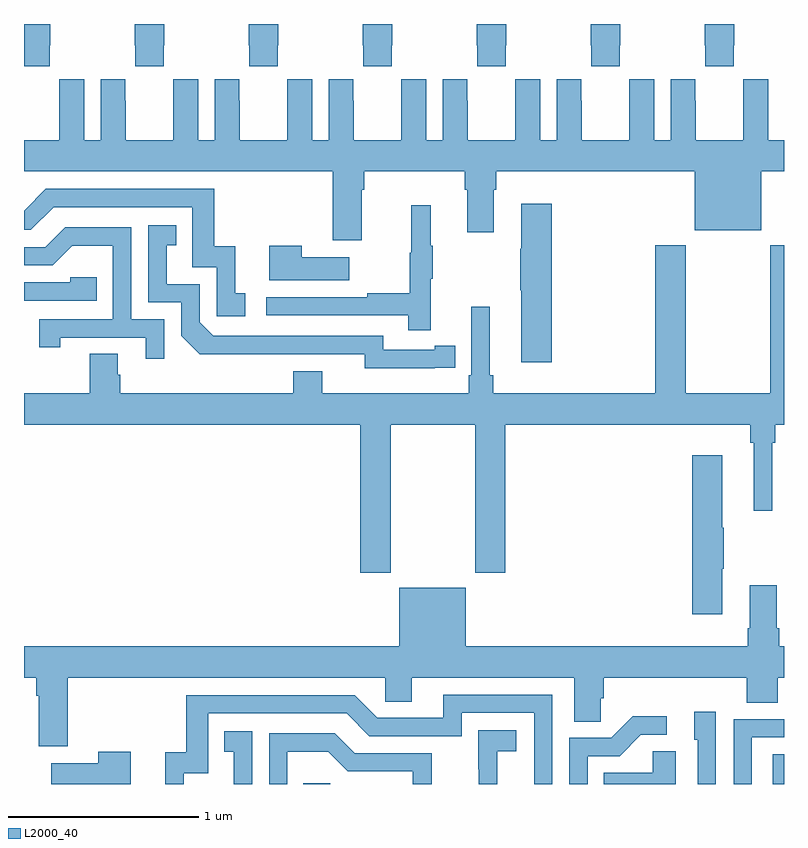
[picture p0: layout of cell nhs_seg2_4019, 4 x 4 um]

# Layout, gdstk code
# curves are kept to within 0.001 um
import gdstk
lib = gdstk.Library(unit=1e-6, precision=1e-09)
def R(c, l, rs):  # rectangles x0, y0, x1, y1
    for r in rs: c.add(gdstk.rectangle(r[:2], r[2:], *l))
def P(c, l, *ps):  # polygons
    for p in ps: c.add(gdstk.Polygon(p, *l))
L2000_40 = (2000, 40)

nhs_seg2_4019 = lib.new_cell('nhs_seg2_4019')
R(nhs_seg2_4019, L2000_40, [(328.471,589.8,328.611,589.803), (330.941,589.8,331,589.957)])
P(nhs_seg2_4019, L2000_40, [(327.735,593.689),(327.738,593.689),(327.738,593.8),(327.583,593.8),(327.583,593.689),(327.585,593.689),(327.585,593.577),(327.735,593.577)],
  [(328.335,593.689),(328.338,593.689),(328.338,593.8),(328.183,593.8),(328.183,593.689),(328.185,593.689),(328.185,593.577),(328.335,593.577)],
  [(328.935,593.689),(328.938,593.689),(328.938,593.8),(328.783,593.8),(328.783,593.689),(328.785,593.689),(328.785,593.577),(328.935,593.577)],
  [(329.535,593.689),(329.538,593.689),(329.538,593.8),(329.383,593.8),(329.383,593.689),(329.385,593.689),(329.385,593.577),(329.535,593.577)],
  [(330.135,593.689),(330.138,593.689),(330.138,593.8),(329.983,593.8),(329.983,593.689),(329.985,593.689),(329.985,593.577),(330.135,593.577)],
  [(330.735,593.689),(330.738,593.689),(330.738,593.8),(330.583,593.8),(330.583,593.689),(330.585,593.689),(330.585,593.577),(330.735,593.577)],
  [(327.135,593.689),(327.138,593.689),(327.138,593.8),(327,593.8),(327,593.577),(327.135,593.577)],
  [(328.777,592.928),(328.79,592.928),(328.79,593.024),(329.321,593.024),(329.321,592.928),(329.333,592.928),(329.333,592.704),(329.473,592.704),(329.473,592.928),(329.486,592.928),(329.486,593.024),(330.53,593.024),(330.53,592.715),(330.88,592.715),(330.88,593.024),(331,593.024),(331,593.188),(330.916,593.188),(330.916,593.509),(330.786,593.509),(330.786,593.396),(330.785,593.396),(330.785,593.188),(330.535,593.188),(330.535,593.396),(330.534,593.396),(330.534,593.509),(330.404,593.509),(330.404,593.188),(330.316,593.188),(330.316,593.509),(330.186,593.509),(330.186,593.396),(330.185,593.396),(330.185,593.188),(329.935,593.188),(329.935,593.396),(329.934,593.396),(329.934,593.509),(329.804,593.509),(329.804,593.188),(329.716,593.188),(329.716,593.509),(329.586,593.509),(329.586,593.396),(329.585,593.396),(329.585,593.188),(329.335,593.188),(329.335,593.396),(329.334,593.396),(329.334,593.509),(329.204,593.509),(329.204,593.188),(329.116,593.188),(329.116,593.509),(328.986,593.509),(328.986,593.396),(328.985,593.396),(328.985,593.188),(328.735,593.188),(328.735,593.396),(328.734,593.396),(328.734,593.509),(328.604,593.509),(328.604,593.188),(328.516,593.188),(328.516,593.509),(328.386,593.509),(328.386,593.396),(328.385,593.396),(328.385,593.188),(328.135,593.188),(328.135,593.396),(328.134,593.396),(328.134,593.509),(328.004,593.509),(328.004,593.188),(327.916,593.188),(327.916,593.509),(327.786,593.509),(327.786,593.396),(327.785,593.396),(327.785,593.188),(327.535,593.188),(327.535,593.396),(327.534,593.396),(327.534,593.509),(327.404,593.509),(327.404,593.188),(327.316,593.188),(327.316,593.509),(327.186,593.509),(327.186,593.396),(327.185,593.396),(327.185,593.188),(327,593.188),(327,593.024),(328.625,593.024),(328.625,592.662),(328.777,592.662)],
  [(328.165,592.383),(328.112,592.383),(328.112,592.63),(328.001,592.63),(328.001,592.932),(327.114,592.932),(327,592.818),(327,592.716),(327.036,592.716),(327.156,592.836),(327.885,592.836),(327.885,592.521),(328.014,592.521),(328.014,592.263),(328.165,592.263)],
  [(329.777,592.855),(329.618,592.855),(329.618,592.616),(329.611,592.616),(329.611,592.399),(329.618,592.399),(329.618,592.02),(329.777,592.02)],
  [(329.141,592.459),(329.152,592.459),(329.152,592.633),(329.141,592.633),(329.141,592.846),(329.038,592.846),(329.038,592.596),(329.031,592.596),(329.031,592.382),(328.807,592.382),(328.807,592.362),(328.275,592.362),(328.275,592.266),(329.023,592.266),(329.023,592.188),(329.141,592.188)],
  [(329.162,591.99),(329.27,591.99),(329.27,592.106),(329.162,592.106),(329.162,592.086),(328.89,592.086),(328.89,592.158),(327.996,592.158),(327.924,592.23),(327.924,592.431),(327.751,592.431),(327.751,592.635),(327.8,592.635),(327.8,592.741),(327.654,592.741),(327.654,592.335),(327.828,592.335),(327.828,592.158),(327.926,592.061),(328.794,592.062),(328.794,591.989)],
  [(327.738,592.245),(327.564,592.245),(327.564,592.731),(327.218,592.731),(327.113,592.626),(327,592.626),(327,592.53),(327.15,592.53),(327.254,592.634),(327.468,592.634),(327.468,592.245),(327.079,592.245),(327.079,592.098),(327.19,592.098),(327.19,592.149),(327.641,592.149),(327.641,592.038),(327.738,592.038)],
  [(328.929,591.692),(329.374,591.692),(329.374,590.913),(329.534,590.913),(329.534,591.692),(330.823,591.692),(330.823,591.596),(330.842,591.596),(330.842,591.237),(330.939,591.237),(330.939,591.596),(330.953,591.596),(330.953,591.692),(331,591.692),(331,592.636),(330.928,592.636),(330.928,591.856),(330.483,591.856),(330.483,592.636),(330.323,592.636),(330.323,591.856),(329.471,591.856),(329.471,591.952),(329.452,591.952),(329.452,592.312),(329.355,592.312),(329.355,591.952),(329.342,591.952),(329.342,591.856),(328.57,591.856),(328.57,591.973),(328.418,591.973),(328.418,591.856),(327.506,591.856),(327.506,591.954),(327.493,591.954),(327.493,592.064),(327.346,592.064),(327.346,591.856),(327,591.856),(327,591.692),(328.769,591.692),(328.769,590.913),(328.929,590.913)],
  [(328.711,592.573),(328.463,592.573),(328.463,592.633),(328.292,592.633),(328.292,592.451),(328.711,592.451)],
  [(327.383,592.467),(327.243,592.467),(327.243,592.44),(327,592.44),(327,592.344),(327.383,592.344)],
  [(330.676,590.932),(330.684,590.932),(330.684,591.149),(330.676,591.149),(330.676,591.529),(330.518,591.529),(330.518,590.694),(330.676,590.694)],
  [(327,590.36),(327.065,590.36),(327.065,590.264),(327.077,590.264),(327.077,589.998),(327.23,589.998),(327.23,590.36),(328.902,590.36),(328.902,590.233),(329.041,590.233),(329.041,590.36),(329.897,590.36),(329.897,590.128),(330.036,590.128),(330.036,590.251),(330.05,590.251),(330.05,590.36),(330.803,590.36),(330.803,590.227),(330.968,590.227),(330.968,590.36),(331,590.36),(331,590.524),(330.974,590.524),(330.974,590.62),(330.961,590.62),(330.961,590.845),(330.821,590.845),(330.821,590.62),(330.809,590.62),(330.809,590.524),(329.326,590.524),(329.326,590.833),(328.976,590.833),(328.976,590.524),(327,590.524)],
  [(327.84,589.857),(327.969,589.857),(327.969,590.172),(328.698,590.172),(328.818,590.052),(329.304,590.052),(329.304,590.175),(329.685,590.175),(329.685,589.8),(329.781,589.8),(329.781,590.271),(329.207,590.271),(329.207,590.148),(328.86,590.148),(328.74,590.268),(327.853,590.268),(327.853,589.966),(327.743,589.966),(327.743,589.8),(327.84,589.8)],
  [(330.642,590.179),(330.527,590.179),(330.527,590.034),(330.546,590.034),(330.546,589.8),(330.642,589.8)],
  [(329.967,589.947),(330.136,589.947),(330.247,590.058),(330.382,590.058),(330.382,590.156),(330.203,590.156),(330.09,590.043),(329.871,590.043),(329.871,589.8),(329.967,589.8)],
  [(330.831,590.046),(331,590.046),(331,590.142),(330.735,590.142),(330.735,589.8),(330.831,589.8)],
  [(329.492,589.973),(329.59,589.973),(329.59,590.083),(329.392,590.083),(329.392,589.877),(329.393,589.877),(329.393,589.8),(329.492,589.8)],
  [(328.2,590.077),(328.054,590.077),(328.054,589.971),(328.103,589.971),(328.103,589.8),(328.2,589.8)],
  [(328.386,589.97),(328.6,589.97),(328.704,589.866),(329.046,589.866),(329.046,589.8),(329.145,589.8),(329.145,589.962),(328.741,589.962),(328.636,590.067),(328.29,590.067),(328.29,589.8),(328.386,589.8)],
  [(330.43,589.973),(330.309,589.973),(330.309,589.858),(330.052,589.858),(330.052,589.8),(330.43,589.8)],
  [(327.562,589.969),(327.392,589.969),(327.392,589.909),(327.143,589.909),(327.143,589.8),(327.562,589.8)])

lib.write_gds('nhs_seg2_4019.gds')
